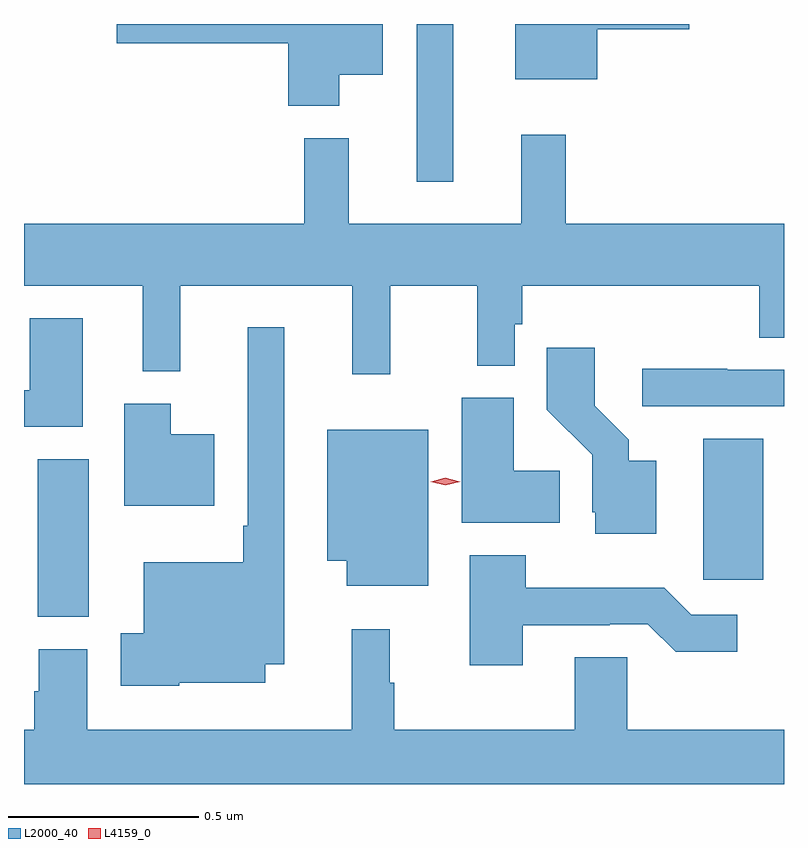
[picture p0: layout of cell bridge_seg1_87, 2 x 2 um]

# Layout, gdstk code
import gdstk
lib = gdstk.Library(unit=1e-6, precision=1e-09)
def R(c, l, rs):  # rectangles x0, y0, x1, y1
    for r in rs: c.add(gdstk.rectangle(r[:2], r[2:], *l))
def P(c, l, *ps):  # polygons
    for p in ps: c.add(gdstk.Polygon(p, *l))
L2000_40 = (2000, 40)
L4159_0 = (4159, 0)

bridge_seg1_87 = lib.new_cell('bridge_seg1_87')
R(bridge_seg1_87, L2000_40, [(545.192,522.889,545.326,523.304), (546.944,522.987,547.102,523.358), (546.189,524.034,546.286,524.449)])
P(bridge_seg1_87, L2000_40, [(546.664,524.435),(546.907,524.435),(546.907,524.449),(546.449,524.449),(546.449,524.303),(546.664,524.303)],
  [(545.986,524.315),(546.1,524.315),(546.1,524.449),(545.4,524.449),(545.4,524.398),(545.852,524.398),(545.852,524.234),(545.986,524.234)],
  [(546.12,523.76),(546.349,523.76),(546.349,523.55),(546.447,523.55),(546.447,523.659),(546.467,523.659),(546.467,523.76),(547.091,523.76),(547.091,523.624),(547.156,523.624),(547.156,523.924),(546.581,523.924),(546.581,524.158),(546.464,524.158),(546.464,523.924),(546.011,523.924),(546.011,524.149),(545.893,524.149),(545.893,523.924),(545.156,523.924),(545.156,523.76),(545.468,523.76),(545.468,523.535),(545.567,523.535),(545.567,523.76),(546.02,523.76),(546.02,523.527),(546.12,523.527)],
  [(545.311,523.675),(545.171,523.675),(545.171,523.485),(545.156,523.485),(545.156,523.389),(545.311,523.389)],
  [(545.565,522.716),(545.791,522.716),(545.791,522.764),(545.841,522.764),(545.841,523.651),(545.745,523.651),(545.745,523.129),(545.733,523.129),(545.733,523.033),(545.471,523.033),(545.471,522.846),(545.411,522.846),(545.411,522.707),(545.565,522.707)],
  [(546.82,523.3),(546.748,523.3),(546.748,523.355),(546.658,523.445),(546.658,523.597),(546.532,523.597),(546.532,523.434),(546.651,523.315),(546.651,523.164),(546.659,523.164),(546.659,523.107),(546.82,523.107)],
  [(547.156,523.539),(547.007,523.539),(547.007,523.542),(546.783,523.542),(546.783,523.443),(547.156,523.443)],
  [(546.566,523.274),(546.445,523.274),(546.445,523.465),(546.308,523.465),(546.308,523.136),(546.566,523.136)],
  [(545.656,523.369),(545.542,523.369),(545.542,523.45),(545.42,523.45),(545.42,523.181),(545.656,523.181)],
  [(546.22,523.381),(545.954,523.381),(545.954,523.037),(546.005,523.037),(546.005,522.971),(546.22,522.971)],
  [(546.469,522.867),(546.698,522.867),(546.698,522.87),(546.798,522.87),(546.871,522.797),(547.033,522.797),(547.033,522.894),(546.912,522.894),(546.841,522.965),(546.477,522.965),(546.477,523.051),(546.329,523.051),(546.329,522.762),(546.469,522.762)],
  [(547.156,522.592),(546.744,522.592),(546.744,522.782),(546.605,522.782),(546.605,522.592),(546.13,522.592),(546.13,522.716),(546.119,522.716),(546.119,522.856),(546.019,522.856),(546.019,522.592),(545.323,522.592),(545.323,522.804),(545.195,522.804),(545.195,522.693),(545.183,522.693),(545.183,522.592),(545.156,522.592),(545.156,522.449),(547.156,522.449)])
P(bridge_seg1_87, L4159_0, [(546.265,523.235),(546.226,523.244),(546.226,523.245),(546.226,523.245),(546.265,523.255),(546.304,523.245),(546.304,523.245),(546.304,523.245)])

lib.write_gds('bridge_seg1_87.gds')
